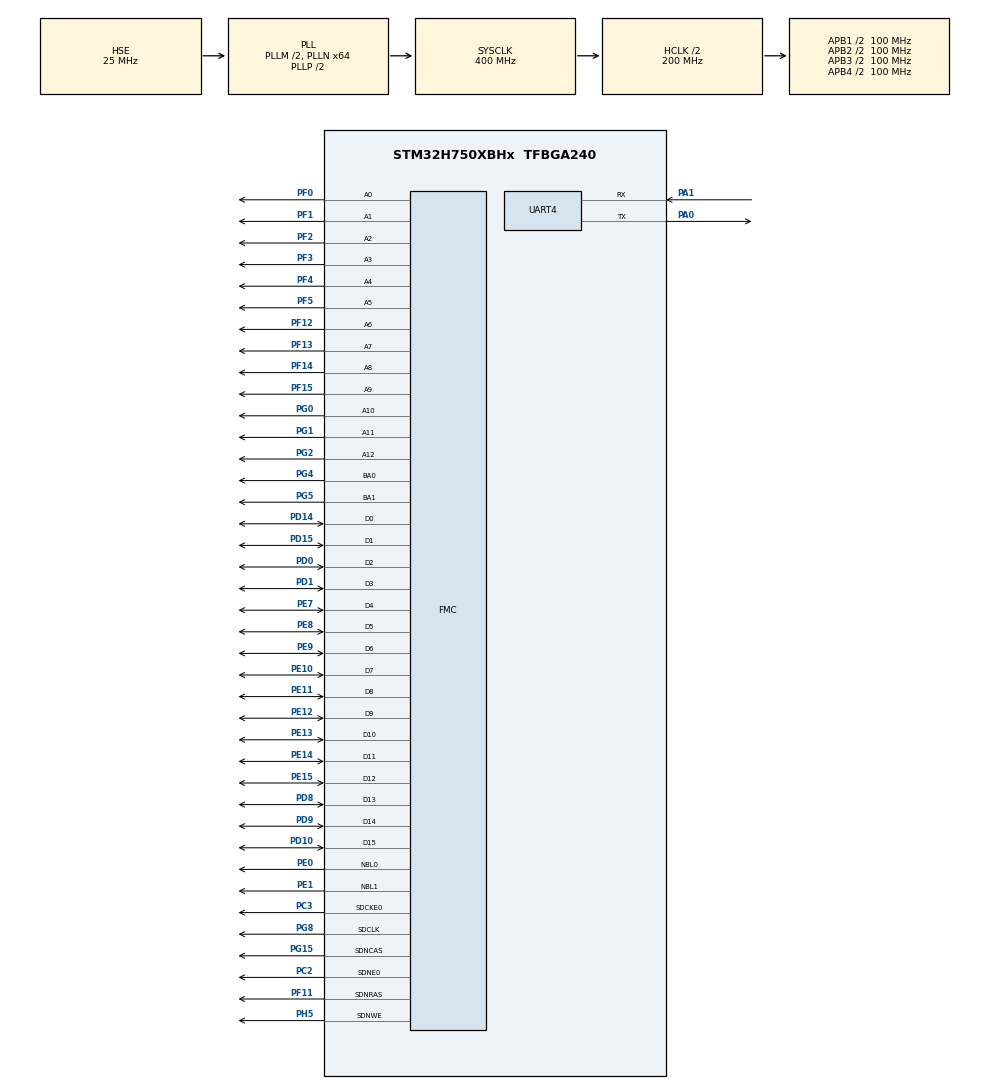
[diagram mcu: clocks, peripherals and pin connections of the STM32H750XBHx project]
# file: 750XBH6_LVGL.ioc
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FMC.CASLatency1=FMC_SDRAM_CAS_LATENCY_2
FMC.ColumnBitsNumber1=FMC_SDRAM_COLUMN_BITS_NUM_9
FMC.ExitSelfRefreshDelay1=8
FMC.LoadToActiveDelay1=2
FMC.RCDDelay1=2
FMC.RPDelay1=2
FMC.ReadBurst1=FMC_SDRAM_RBURST_DISABLE
FMC.ReadPipeDelay1=FMC_SDRAM_RPIPE_DELAY_1
FMC.RowCycleDelay1=6
FMC.SDClockPeriod1=FMC_SDRAM_CLOCK_PERIOD_2
FMC.SelfRefreshTime1=6
FMC.WriteRecoveryTime1=4
Mcu.Family=STM32H7
Mcu.Name=STM32H750XBHx
Mcu.Package=TFBGA240
NVIC.FMC_IRQn=true\:0\:0\:false\:false\:true\:true\:true\:true
NVIC.PriorityGroup=NVIC_PRIORITYGROUP_4
PA0.Mode=Asynchronous
PA0.Signal=UART4_TX
PA1.Mode=Asynchronous
PA1.Signal=UART4_RX
PA13\ (JTMS/SWDIO).Mode=Serial_Wire
PA13\ (JTMS/SWDIO).Signal=DEBUG_JTMS-SWDIO
PA14\ (JTCK/SWCLK).Mode=Serial_Wire
PA14\ (JTCK/SWCLK).Signal=DEBUG_JTCK-SWCLK
PC14-OSC32_IN\ (OSC32_IN).Mode=LSE-External-Oscillator
PC14-OSC32_IN\ (OSC32_IN).Signal=RCC_OSC32_IN
PC15-OSC32_OUT\ (OSC32_OUT).Mode=LSE-External-Oscillator
PC15-OSC32_OUT\ (OSC32_OUT).Signal=RCC_OSC32_OUT
PC2.Mode=SdramChipSelect1_1
PC2.Signal=FMC_SDNE0
PC3.Mode=SdramChipSelect1_1
PC3.Signal=FMC_SDCKE0
PD0.Signal=FMC_D2_DA2
PD1.Signal=FMC_D3_DA3
PD10.Signal=FMC_D15_DA15
PD14.Signal=FMC_D0_DA0
PD15.Signal=FMC_D1_DA1
PD8.Signal=FMC_D13_DA13
PD9.Signal=FMC_D14_DA14
PE0.Signal=FMC_NBL0
PE1.Signal=FMC_NBL1
PE10.Signal=FMC_D7_DA7
PE11.Signal=FMC_D8_DA8
PE12.Signal=FMC_D9_DA9
PE13.Signal=FMC_D10_DA10
PE14.Signal=FMC_D11_DA11
PE15.Signal=FMC_D12_DA12
PE7.Signal=FMC_D4_DA4
PE8.Signal=FMC_D5_DA5
PE9.Signal=FMC_D6_DA6
PF0.Signal=FMC_A0
PF1.Signal=FMC_A1
PF11.Signal=FMC_SDNRAS
PF12.Signal=FMC_A6
PF13.Signal=FMC_A7
PF14.Signal=FMC_A8
PF15.Signal=FMC_A9
PF2.Signal=FMC_A2
PF3.Signal=FMC_A3
PF4.Signal=FMC_A4
PF5.Signal=FMC_A5
PG0.Signal=FMC_A10
PG1.Signal=FMC_A11
PG15.Signal=FMC_SDNCAS
PG2.Signal=FMC_A12
PG4.Signal=FMC_A14_BA0
PG5.Signal=FMC_A15_BA1
PG8.Signal=FMC_SDCLK
PH0-OSC_IN\ (PH0).Mode=HSE-External-Oscillator
PH0-OSC_IN\ (PH0).Signal=RCC_OSC_IN
PH1-OSC_OUT\ (PH1).Mode=HSE-External-Oscillator
PH1-OSC_OUT\ (PH1).Signal=RCC_OSC_OUT
PH5.Signal=FMC_SDNWE
ProjectManager.HeapSize=0x2000
ProjectManager.StackSize=0x2000
ProjectManager.TargetToolchain=STM32CubeIDE
RCC.ADCFreq_Value=109375000
RCC.APB1Freq_Value=100000000
RCC.APB2Freq_Value=100000000
RCC.APB3Freq_Value=100000000
RCC.APB4Freq_Value=100000000
RCC.CortexFreq_Value=400000000
RCC.D1PPRE=RCC_APB3_DIV2
RCC.D2PPRE1=RCC_APB1_DIV2
RCC.D2PPRE2=RCC_APB2_DIV2
RCC.D3PPRE=RCC_APB4_DIV2
RCC.DIVM1=2
RCC.DIVM2=4
RCC.DIVN1=64
RCC.DIVN2=35
RCC.DIVQ1=4
RCC.HCLKFreq_Value=200000000
RCC.HPRE=RCC_HCLK_DIV2
RCC.PLL2FRACN=0
RCC.PLL3FRACN=0
RCC.PLLFRACN=0
RCC.PLLSourceVirtual=RCC_PLLSOURCE_HSE
RCC.PWR_Regulator_Voltage_Scale=PWR_REGULATOR_VOLTAGE_SCALE1
RCC.SYSCLKFreq_VALUE=400000000
RCC.SYSCLKSource=RCC_SYSCLKSOURCE_PLLCLK
RCC.SupplySource=PWR_LDO_SUPPLY
RCC.USBFreq_Value=200000000
SH.FMC_A0.0=FMC_A0,13b-sda1
SH.FMC_A1.0=FMC_A1,13b-sda1
SH.FMC_A10.0=FMC_A10,13b-sda1
SH.FMC_A11.0=FMC_A11,13b-sda1
SH.FMC_A12.0=FMC_A12,13b-sda1
SH.FMC_A14_BA0.0=FMC_BA0,FourSdramBanks1
SH.FMC_A15_BA1.0=FMC_BA1,FourSdramBanks1
SH.FMC_A2.0=FMC_A2,13b-sda1
SH.FMC_A3.0=FMC_A3,13b-sda1
SH.FMC_A4.0=FMC_A4,13b-sda1
SH.FMC_A5.0=FMC_A5,13b-sda1
SH.FMC_A6.0=FMC_A6,13b-sda1
SH.FMC_A7.0=FMC_A7,13b-sda1
SH.FMC_A8.0=FMC_A8,13b-sda1
SH.FMC_A9.0=FMC_A9,13b-sda1
SH.FMC_D0_DA0.0=FMC_D0,sd-16b-d1
SH.FMC_D10_DA10.0=FMC_D10,sd-16b-d1
SH.FMC_D11_DA11.0=FMC_D11,sd-16b-d1
SH.FMC_D12_DA12.0=FMC_D12,sd-16b-d1
SH.FMC_D13_DA13.0=FMC_D13,sd-16b-d1
SH.FMC_D14_DA14.0=FMC_D14,sd-16b-d1
SH.FMC_D15_DA15.0=FMC_D15,sd-16b-d1
SH.FMC_D1_DA1.0=FMC_D1,sd-16b-d1
SH.FMC_D2_DA2.0=FMC_D2,sd-16b-d1
SH.FMC_D3_DA3.0=FMC_D3,sd-16b-d1
SH.FMC_D4_DA4.0=FMC_D4,sd-16b-d1
SH.FMC_D5_DA5.0=FMC_D5,sd-16b-d1
SH.FMC_D6_DA6.0=FMC_D6,sd-16b-d1
SH.FMC_D7_DA7.0=FMC_D7,sd-16b-d1
SH.FMC_D8_DA8.0=FMC_D8,sd-16b-d1
SH.FMC_D9_DA9.0=FMC_D9,sd-16b-d1
SH.FMC_NBL0.0=FMC_NBL0,Sd2ByteEnable1
SH.FMC_NBL1.0=FMC_NBL1,Sd2ByteEnable1
SH.FMC_SDCLK.0=FMC_SDCLK,13b-sda1
SH.FMC_SDNCAS.0=FMC_SDNCAS,13b-sda1
SH.FMC_SDNRAS.0=FMC_SDNRAS,13b-sda1
SH.FMC_SDNWE.0=FMC_SDNWE,13b-sda1
board=custom

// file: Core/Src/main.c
/* USER CODE BEGIN Header */
/**
  ******************************************************************************
  * @file           : main.c
  * @brief          : Main program body
  ******************************************************************************
  * @attention
  *
  * Copyright (c) 2023 STMicroelectronics.
  * All rights reserved.
  *
  * This software is licensed under terms that can be found in the LICENSE file
  * in the root directory of this software component.
  * If no LICENSE file comes with this software, it is provided AS-IS.
  *
  ******************************************************************************
  */
/* USER CODE END Header */
#include "main.h"
#include "usart.h"
#include "gpio.h"
#include "fmc.h"

/* USER CODE BEGIN Includes */
#include "stdio.h"
#ifdef __GNUC__
#define PUTCHAR_PROTOTYPE int __io_putchar(int ch)
#else
#define PUTCHAR_PROTOTYPE int fputc(int ch, FILE *f)
#endif

PUTCHAR_PROTOTYPE
{
    HAL_UART_Transmit(&huart4,(uint8_t *)&ch,1,0xFFFF);//??????
    return ch;
}

/* USER CODE END Includes */

void SystemClock_Config(void);

int main(void)
{

  /* MCU Configuration--------------------------------------------------------*/

  /* Reset of all peripherals, Initializes the Flash interface and the Systick. */
  HAL_Init();

  /* Configure the system clock */
  SystemClock_Config();

  /* Initialize all configured peripherals */
  MX_GPIO_Init();
  MX_UART4_Init();
  MX_FMC_Init();
  /* USER CODE BEGIN 2 */
  SDRAM_Initialization_Sequence();
  /* USER CODE END 2 */

  /* Infinite loop */
  /* USER CODE BEGIN WHILE */
    printf("STM32H750 SDRAM Test\r\n");

    printf("SDRAM W9825G6KH Init success\r\n");

    if (bsp_TestExtSDRAM() == 0) {
        printf("SDRAM Test success\r\n");
    } else {
        printf("SDRAM Test fail\r\n");
    }

  while (1)
  {

    /* USER CODE END WHILE */

  }
}

void SystemClock_Config(void)
{
  RCC_OscInitTypeDef RCC_OscInitStruct = {0};
  RCC_ClkInitTypeDef RCC_ClkInitStruct = {0};

  /** Supply configuration update enable
  */
  HAL_PWREx_ConfigSupply(PWR_LDO_SUPPLY);

  /** Configure the main internal regulator output voltage
  */
  __HAL_PWR_VOLTAGESCALING_CONFIG(PWR_REGULATOR_VOLTAGE_SCALE1);

  while(!__HAL_PWR_GET_FLAG(PWR_FLAG_VOSRDY)) {}

  /** Initializes the RCC Oscillators according to the specified parameters
  * in the RCC_OscInitTypeDef structure.
  */
  RCC_OscInitStruct.OscillatorType = RCC_OSCILLATORTYPE_HSE;
  RCC_OscInitStruct.HSEState = RCC_HSE_ON;
  RCC_OscInitStruct.PLL.PLLState = RCC_PLL_ON;
  RCC_OscInitStruct.PLL.PLLSource = RCC_PLLSOURCE_HSE;
  RCC_OscInitStruct.PLL.PLLM = 2;
  RCC_OscInitStruct.PLL.PLLN = 64;
  RCC_OscInitStruct.PLL.PLLP = 2;
  RCC_OscInitStruct.PLL.PLLQ = 4;
  RCC_OscInitStruct.PLL.PLLR = 2;
  RCC_OscInitStruct.PLL.PLLRGE = RCC_PLL1VCIRANGE_3;
  RCC_OscInitStruct.PLL.PLLVCOSEL = RCC_PLL1VCOWIDE;
  RCC_OscInitStruct.PLL.PLLFRACN = 0;
  if (HAL_RCC_OscConfig(&RCC_OscInitStruct) != HAL_OK)
  {
    Error_Handler();
  }

  /** Initializes the CPU, AHB and APB buses clocks
  */
  RCC_ClkInitStruct.ClockType = RCC_CLOCKTYPE_HCLK|RCC_CLOCKTYPE_SYSCLK
                              |RCC_CLOCKTYPE_PCLK1|RCC_CLOCKTYPE_PCLK2
                              |RCC_CLOCKTYPE_D3PCLK1|RCC_CLOCKTYPE_D1PCLK1;
  RCC_ClkInitStruct.SYSCLKSource = RCC_SYSCLKSOURCE_PLLCLK;
  RCC_ClkInitStruct.SYSCLKDivider = RCC_SYSCLK_DIV1;
  RCC_ClkInitStruct.AHBCLKDivider = RCC_HCLK_DIV2;
  RCC_ClkInitStruct.APB3CLKDivider = RCC_APB3_DIV2;
  RCC_ClkInitStruct.APB1CLKDivider = RCC_APB1_DIV2;
  RCC_ClkInitStruct.APB2CLKDivider = RCC_APB2_DIV2;
  RCC_ClkInitStruct.APB4CLKDivider = RCC_APB4_DIV2;

  if (HAL_RCC_ClockConfig(&RCC_ClkInitStruct, FLASH_LATENCY_2) != HAL_OK)
  {
    Error_Handler();
  }
}

void Error_Handler(void)
{
  __disable_irq();
  while (1)
  {
  }
}
